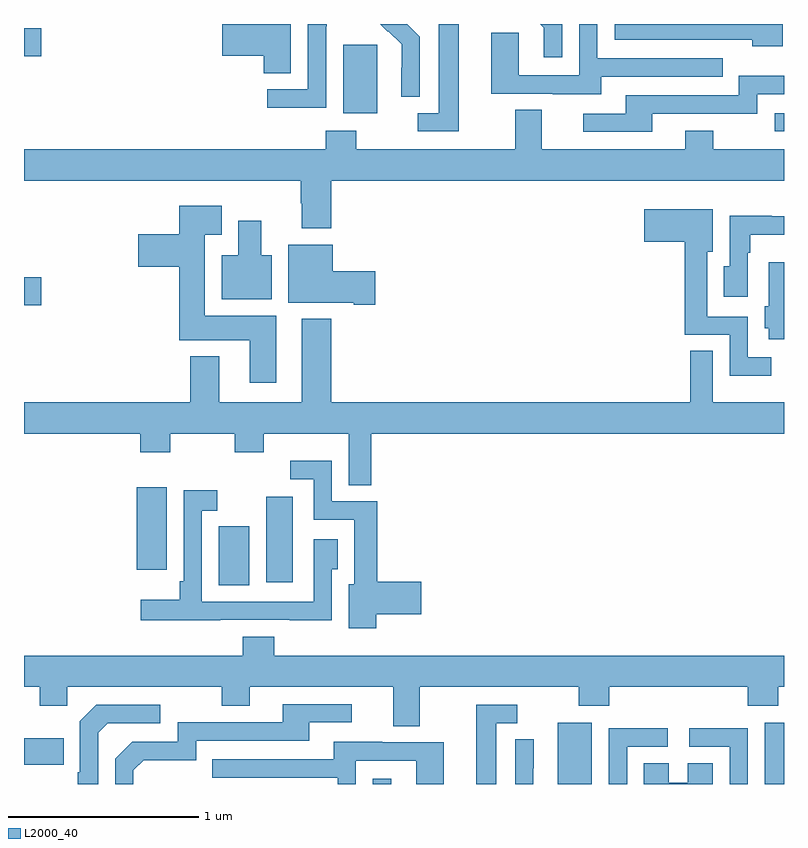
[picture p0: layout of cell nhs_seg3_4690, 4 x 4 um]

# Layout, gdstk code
import gdstk
lib = gdstk.Library(unit=1e-6, precision=1e-09)
def R(c, l, rs):  # rectangles x0, y0, x1, y1
    for r in rs: c.add(gdstk.rectangle(r[:2], r[2:], *l))
def P(c, l, *ps):  # polygons
    for p in ps: c.add(gdstk.Polygon(p, *l))
L2000_40 = (2000, 40)

nhs_seg3_4690 = lib.new_cell('nhs_seg3_4690')
R(nhs_seg3_4690, L2000_40, [(364.836,704.4,364.933,704.428), (365.81,704.4,365.989,704.722), (366.899,704.4,367,704.722), (363,704.501,363.209,704.641), (364.025,705.445,364.186,705.756), (364.274,705.462,364.414,705.913), (363.593,705.528,363.751,705.961), (363,706.919,363.091,707.066), (366.951,707.835,367,707.931), (364.679,707.93,364.858,708.291), (363,708.23,363.091,708.377)])
P(nhs_seg3_4690, L2000_40, [(365.832,708.4),(365.716,708.4),(365.735,708.381),(365.735,708.225),(365.832,708.225)],
  [(365.287,708.4),(365.183,708.4),(365.183,707.931),(365.073,707.931),(365.073,707.835),(365.287,707.835)],
  [(366.994,708.4),(366.108,708.4),(366.108,708.318),(366.833,708.318),(366.833,708.284),(366.994,708.284)],
  [(365.082,708.334),(365.016,708.4),(364.874,708.4),(364.914,708.36),(364.917,708.363),(364.988,708.293),(364.988,708.17),(364.986,708.17),(364.986,708.016),(365.082,708.016)],
  [(364.59,708.388),(364.593,708.388),(364.593,708.4),(364.494,708.4),(364.494,708.057),(364.281,708.057),(364.281,707.959),(364.59,707.959)],
  [(364.405,708.4),(364.044,708.4),(364.044,708.233),(364.262,708.233),(364.262,708.142),(364.405,708.142)],
  [(366.037,708.123),(366.677,708.123),(366.677,708.219),(366.018,708.219),(366.018,708.4),(365.922,708.4),(365.922,708.129),(365.604,708.129),(365.604,708.353),(365.459,708.353),(365.459,708.033),(365.783,708.033),(365.783,708.029),(366.037,708.029)],
  [(366.307,707.928),(366.858,707.928),(366.858,708.03),(367,708.03),(367,708.127),(366.762,708.127),(366.762,708.024),(366.167,708.024),(366.167,707.928),(365.943,707.928),(365.943,707.832),(366.307,707.832)],
  [(364.616,707.576),(367,707.576),(367,707.74),(366.627,707.74),(366.627,707.839),(366.479,707.839),(366.479,707.74),(365.725,707.74),(365.725,707.948),(365.585,707.948),(365.585,707.74),(364.749,707.74),(364.749,707.839),(364.589,707.839),(364.589,707.74),(363,707.74),(363,707.576),(364.456,707.576),(364.456,707.456),(364.463,707.456),(364.463,707.324),(364.616,707.324)],
  [(364.327,706.864),(363.952,706.864),(363.952,707.291),(364.042,707.291),(364.042,707.443),(363.818,707.443),(363.818,707.293),(363.6,707.293),(363.6,707.123),(363.818,707.123),(363.818,706.736),(364.187,706.736),(364.187,706.512),(364.327,706.512)],
  [(366.934,706.647),(366.81,706.647),(366.81,706.86),(366.595,706.86),(366.595,707.201),(366.625,707.201),(366.625,707.425),(366.264,707.425),(366.264,707.255),(366.477,707.255),(366.477,706.764),(366.714,706.764),(366.714,706.55),(366.934,706.55)],
  [(366.81,707.195),(366.823,707.195),(366.823,707.291),(367,707.291),(367,707.388),(366.935,707.388),(366.935,707.39),(366.714,707.39),(366.714,707.124),(366.683,707.124),(366.683,706.965),(366.81,706.965)],
  [(364.303,707.182),(364.249,707.182),(364.249,707.365),(364.127,707.365),(364.127,707.182),(364.04,707.182),(364.04,706.952),(364.303,706.952)],
  [(364.849,707.1),(364.624,707.1),(364.624,707.239),(364.391,707.239),(364.391,706.934),(364.736,706.934),(364.736,706.922),(364.849,706.922)],
  [(367,707.146),(366.92,707.146),(366.92,706.914),(366.899,706.914),(366.899,706.8),(366.92,706.8),(366.92,706.74),(367,706.74)],
  [(364.828,706.244),(367,706.244),(367,706.408),(366.625,706.408),(366.625,706.679),(366.507,706.679),(366.507,706.408),(364.616,706.408),(364.616,706.849),(364.463,706.849),(364.463,706.408),(364.027,706.408),(364.027,706.651),(363.875,706.651),(363.875,706.408),(363,706.408),(363,706.244),(363.611,706.244),(363.611,706.145),(363.771,706.145),(363.771,706.244),(364.108,706.244),(364.108,706.145),(364.263,706.145),(364.263,706.244),(364.709,706.244),(364.709,705.973),(364.828,705.973)],
  [(364.853,705.293),(365.092,705.293),(365.092,705.464),(364.858,705.464),(364.858,705.888),(364.62,705.888),(364.62,706.102),(364.401,706.102),(364.401,706.005),(364.524,706.005),(364.524,705.792),(364.739,705.792),(364.739,705.451),(364.709,705.451),(364.709,705.219),(364.853,705.219)],
  [(364.033,705.264),(364.399,705.264),(364.399,705.263),(364.62,705.263),(364.62,705.529),(364.651,705.529),(364.651,705.688),(364.524,705.688),(364.524,705.36),(363.936,705.36),(363.936,705.837),(364.018,705.837),(364.018,705.946),(363.84,705.946),(363.84,705.466),(363.82,705.466),(363.82,705.37),(363.615,705.37),(363.615,705.263),(364.033,705.263)],
  [(365.083,704.912),(365.92,704.912),(365.92,704.813),(366.08,704.813),(366.08,704.912),(366.809,704.912),(366.809,704.813),(366.969,704.813),(366.969,704.912),(367,704.912),(367,705.076),(364.316,705.076),(364.316,705.175),(364.151,705.175),(364.151,705.076),(363,705.076),(363,704.912),(363.082,704.912),(363.082,704.813),(363.228,704.813),(363.228,704.912),(364.042,704.912),(364.042,704.813),(364.189,704.813),(364.189,704.912),(364.943,704.912),(364.943,704.704),(365.083,704.704)],
  [(363.576,704.472),(363.629,704.525),(363.906,704.525),(363.906,704.628),(364.501,704.628),(364.501,704.724),(364.726,704.724),(364.726,704.82),(364.361,704.82),(364.361,704.724),(363.81,704.724),(363.81,704.622),(363.57,704.622),(363.48,704.532),(363.48,704.4),(363.576,704.4)],
  [(365.485,704.721),(365.596,704.721),(365.596,704.817),(365.381,704.817),(365.381,704.4),(365.485,704.4)],
  [(363.39,704.67),(363.441,704.721),(363.718,704.721),(363.718,704.817),(363.381,704.817),(363.294,704.73),(363.294,704.461),(363.282,704.461),(363.282,704.4),(363.39,704.4)],
  [(366.81,704.694),(366.501,704.694),(366.501,704.595),(366.714,704.595),(366.714,704.4),(366.81,704.4)],
  [(366.174,704.595),(366.388,704.595),(366.388,704.694),(366.078,704.694),(366.078,704.4),(366.174,704.4)],
  [(365.681,704.482),(365.682,704.482),(365.682,704.636),(365.586,704.636),(365.586,704.4),(365.681,704.4)],
  [(364.746,704.523),(365.064,704.523),(365.064,704.4),(365.209,704.4),(365.209,704.619),(364.885,704.619),(364.885,704.623),(364.631,704.623),(364.631,704.529),(363.991,704.529),(363.991,704.433),(364.65,704.433),(364.65,704.4),(364.746,704.4)],
  [(366.625,704.51),(366.494,704.51),(366.494,704.407),(366.394,704.407),(366.394,704.51),(366.263,704.51),(366.263,704.4),(366.625,704.4)])

lib.write_gds('nhs_seg3_4690.gds')
